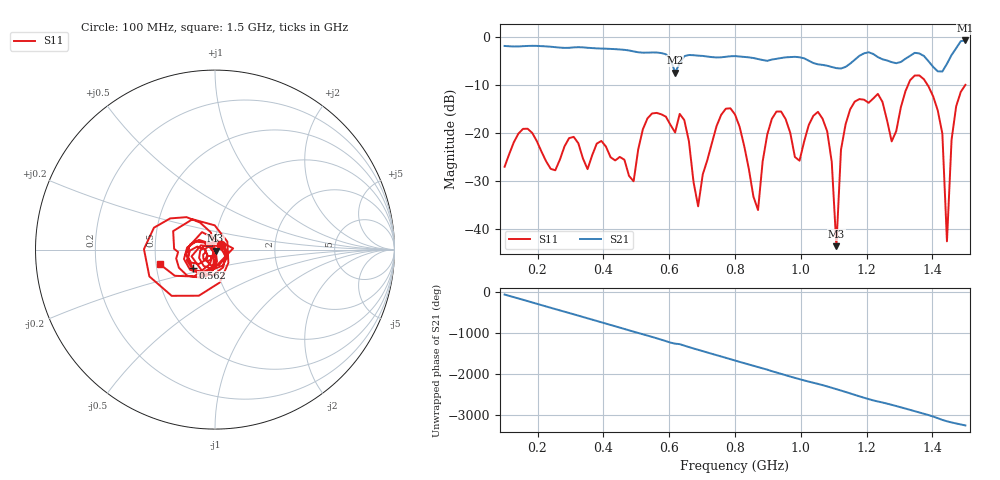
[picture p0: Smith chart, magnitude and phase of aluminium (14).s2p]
! NanoVNA-App
! Date: 2025-09-25 14:55:23
! Start: 100MHz Stop: 1,5GHz Points: 101
! S-Parameter data: F S11 S21 S12 S22
# Hz S RI R 50
!  Frequency  S11_Real  S11_Imag  S21_Real  S21_Imag  S12_Real  S12_Imag  S22_Real  S22_Imag
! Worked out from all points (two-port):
!   101 points, 100 MHz to 1.5 GHz, reference 50 ohm
!   highest |S21| = -0.78 dB at 1.5 GHz (marker M1); lowest = -7.4 dB at 618 MHz (marker M2)
!   |S21| within 3 dB of the highest: start of sweep to 592 MHz; 1.183 GHz to 1.224 GHz (41.04 MHz wide, 3.41 % of centre) (the widest 2 of 4)
!   lowest |S11| = -43.5 dB at 1.108 GHz (marker M3), VSWR 1.01, Z = 50.3 - j0.602 ohm
!   |S11| at or under -10 dB: start of sweep to 1.326 GHz; 1.385 GHz to end of sweep
!   S12 and S22 are empty: the file has one direction only
!   S11 on the Smith chart (normalised r, x): 100 MHz: 1.07, +0.06; 562 MHz: 0.76, -0.16; 1.5 GHz: 0.53, -0.10
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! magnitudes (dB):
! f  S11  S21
! 100 MHz  -27.0  -1.9
! 338 MHz  -25.3  -2.2
! 492 MHz  -30.0  -3.1
! 562 MHz  -15.8  -3.3
! 576 MHz  -16.1  -3.4
! 618 MHz  -19.9  -7.4
! 688 MHz  -35.2  -3.9
! 800 MHz  -16.2  -4.0
! 870 MHz  -36.0  -4.6
! 912 MHz  -17.1  -4.7
! 996 MHz  -25.7  -4.3
! 1.038 GHz  -16.4  -5.5
! 1.08 GHz  -19.6  -6.0
! 1.108 GHz  -43.5  -6.5
! 1.122 GHz  -23.5  -6.6
! 1.15 GHz  -15.1  -5.6
! 1.276 GHz  -21.8  -5.3
! 1.388 GHz  -10.3  -5.1
! 1.43 GHz  -20.1  -7.2
! 1.444 GHz  -42.5  -5.6
! 1.458 GHz  -21.4  -3.8
! 1.5 GHz  -10.0  -0.8
